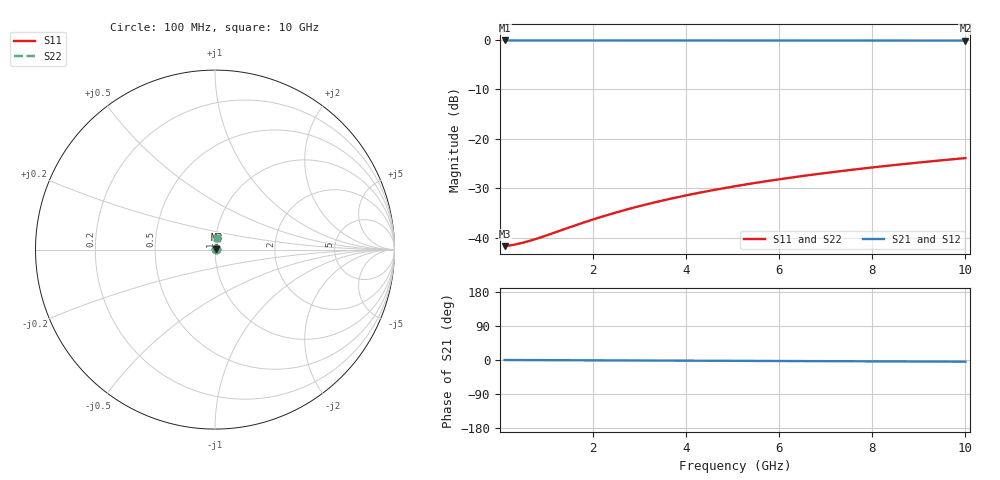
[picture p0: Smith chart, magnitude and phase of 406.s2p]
# Hz S RI R 50.00
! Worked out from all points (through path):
!   100 points, 100 MHz to 10 GHz, reference 50 ohm
!   highest |S21| = -0.07 dB at 100 MHz (marker M1); lowest = -0.1 dB at 10 GHz (marker M2)
!   lowest |S11| = -41.7 dB at 100 MHz (marker M3), VSWR 1.02, Z = 50.8 + j0.0636 ohm
!   |S11| at or under -10 dB: start of sweep to end of sweep
!   |S22| runs from -41.7 to -23.9 dB; largest |S21 - S12| = 1e-13
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1e8  0.00815 0.000626  0.9918 -0.000768  0.9918 -0.000768  0.00815 0.000626
3e8  0.00825 0.00188  0.9917 -0.0023  0.9917 -0.0023  0.00825 0.00188
4e8  0.00828 0.0025  0.9917 -0.00307  0.9917 -0.00307  0.00828 0.0025
5e8  0.00831 0.00313  0.9917 -0.00384  0.9917 -0.00384  0.00831 0.00313
7e8  0.00837 0.00438  0.9916 -0.00537  0.9916 -0.00537  0.00837 0.00438
1e9  0.00845 0.00626  0.9915 -0.00767  0.9915 -0.00767  0.00845 0.00626
1.8e9  0.00866 0.0113  0.9913 -0.0138  0.9913 -0.0138  0.00866 0.0113
2.2e9  0.00877 0.0138  0.9912 -0.0169  0.9912 -0.0169  0.00877 0.0138
2.6e9  0.0089 0.0163  0.9911 -0.0199  0.9911 -0.0199  0.0089 0.0163
3e9  0.00903 0.0188  0.991 -0.023  0.991 -0.023  0.00903 0.0188
3.4e9  0.00919 0.0213  0.9908 -0.0261  0.9908 -0.0261  0.00919 0.0213
3.8e9  0.00935 0.0237  0.9906 -0.0291  0.9906 -0.0291  0.00935 0.0237
4.2e9  0.00953 0.0262  0.9904 -0.0322  0.9904 -0.0322  0.00953 0.0262
4.6e9  0.00972 0.0287  0.9903 -0.0353  0.9903 -0.0353  0.00972 0.0287
5.1e9  0.00998 0.0319  0.99 -0.0391  0.99 -0.0391  0.00998 0.0319
5.5e9  0.0102 0.0343  0.9898 -0.0422  0.9898 -0.0422  0.0102 0.0343
5.9e9  0.0104 0.0368  0.9895 -0.0452  0.9895 -0.0452  0.0104 0.0368
6.7e9  0.011 0.0418  0.989 -0.0513  0.989 -0.0513  0.011 0.0418
7.5e9  0.0116 0.0468  0.9884 -0.0574  0.9884 -0.0574  0.0116 0.0468
8.4e9  0.0123 0.0524  0.9876 -0.0643  0.9876 -0.0643  0.0123 0.0524
9.2e9  0.013 0.0573  0.9869 -0.0704  0.9869 -0.0704  0.013 0.0573
1e10  0.0138 0.0623  0.9861 -0.0765  0.9861 -0.0765  0.0138 0.0623
